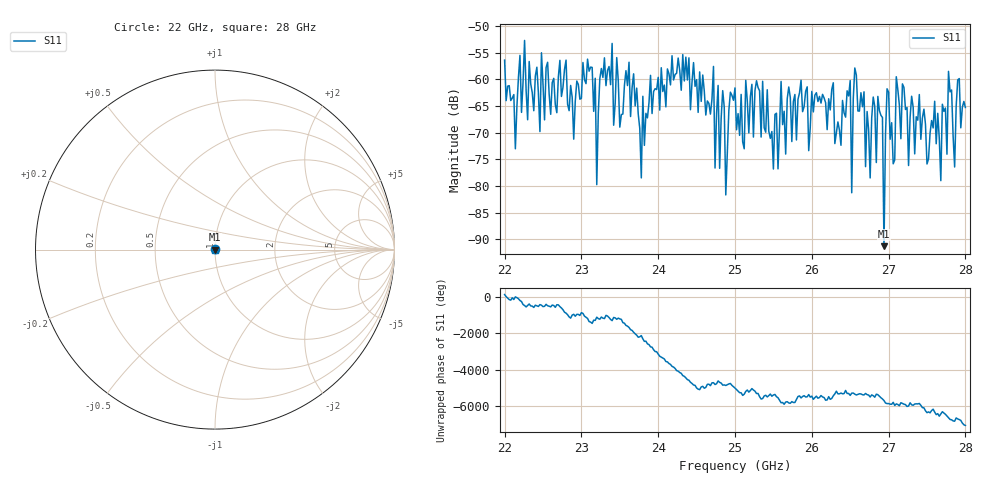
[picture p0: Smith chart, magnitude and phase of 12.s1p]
#  HZ  S  RI  R  50.00
! Rohde & Schwarz ZVA40 4Ports - Version 3.90 - 1145.1110k42 SN: 100403
! Date: 2023-10-04 09:35:18
! Measurement: S12
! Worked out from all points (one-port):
!   301 points, 22 GHz to 28 GHz, reference 50 ohm
!   lowest |S11| = -91.3 dB at 26.94 GHz (marker M1), VSWR 1.00, Z = 50 + j0.00215 ohm
!   |S11| at or under -10 dB: start of sweep to end of sweep
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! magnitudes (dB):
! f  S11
! 22 GHz  -56.4
! 22.14 GHz  -73.0
! 22.26 GHz  -52.7
! 22.3 GHz  -67.6
! 22.76 GHz  -61.5
! 23.14 GHz  -57.8
! 23.2 GHz  -79.8
! 23.24 GHz  -59.8
! 23.4 GHz  -53.3
! 23.5 GHz  -69.0
! 23.62 GHz  -56.8
! 23.78 GHz  -78.5
! 23.8 GHz  -63.2
! 24.26 GHz  -56.0
! 24.72 GHz  -57.6
! 24.74 GHz  -76.6
! 24.84 GHz  -62.1
! 24.88 GHz  -81.7
! 25 GHz  -61.6
! 25.5 GHz  -76.8
! 25.76 GHz  -64.1
! 26.5 GHz  -60.2
! 26.52 GHz  -81.3
! 26.56 GHz  -57.9
! 26.94 GHz  -91.3
! 27.1 GHz  -59.5
! 27.26 GHz  -76.2
! 28 GHz  -65.3
